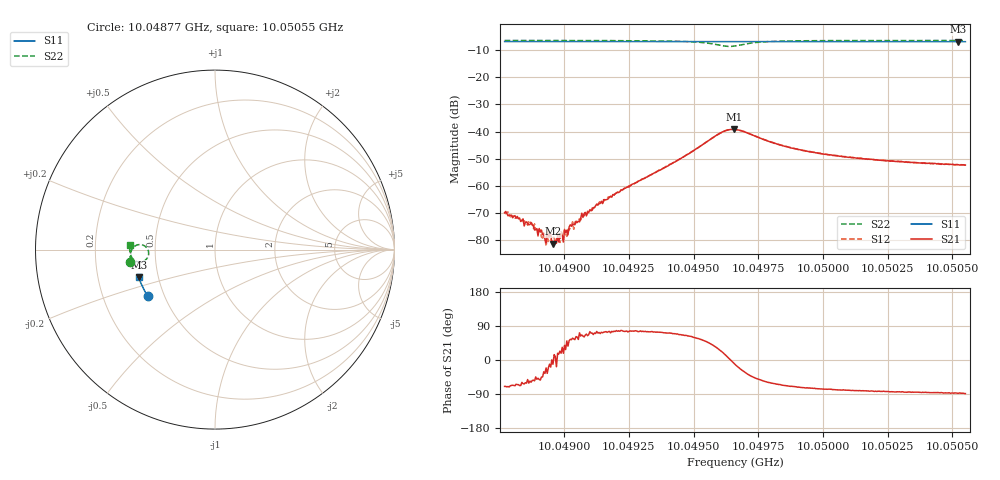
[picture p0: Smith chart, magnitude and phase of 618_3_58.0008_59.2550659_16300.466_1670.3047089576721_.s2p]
#  HZ  S  RI  R  50.00
! Rohde & Schwarz Vector Network Analyzer
! Rohde-Schwarz,ZNB20-2Port,1311601062101988,3.16
! Created: UTC 3/21/2024, 1:18:02 AM
! freq[Hz]  re:S11  im:S11  re:S21  im:S21  re:S12  im:S12  re:S22  im:S22
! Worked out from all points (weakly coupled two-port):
!   401 points, 10.04877 GHz to 10.05055 GHz, reference 50 ohm
!   highest |S21| = -39.15 dB at 10.04966 GHz (marker M1); lowest = -81.2 dB at 10.04896 GHz (marker M2)
!   lowest |S11| = -6.9 dB at 10.05052 GHz (marker M3), VSWR 2.65, Z = 19.4 - j7.54 ohm
!   |S11| at or under -10 dB: nowhere
!   |S22| runs from -8.6 to -6.4 dB; largest |S21 - S12| = 0.00081
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1.004877e10  -0.3752 -0.258  0.000112 -0.000303  0.000138 -0.0003  -0.4716 -0.0666
1.0048868e10  -0.3787 -0.2527  0.000111 -0.000163  0.000138 -0.000164  -0.4723 -0.0589
1.0048891e10  -0.3794 -0.2514  0.000112 -0.000111  9.32e-05 -0.000128  -0.4723 -0.057
1.0048913e10  -0.3802 -0.2501  0.000109 -0.000109  7.57e-05 -8.75e-05  -0.4725 -0.0554
1.0048922e10  -0.3806 -0.2495  0.000108 -6.53e-05  0.000108 -8.27e-05  -0.4726 -0.0547
1.0048944e10  -0.3814 -0.2482  0.000123 -2.4e-05  0.000124 -3.41e-05  -0.4726 -0.0529
1.0048957e10  -0.3818 -0.2476  8.53e-05 -1.7e-05  0.000112 -1.52e-05  -0.4727 -0.0516
1.0048988e10  -0.383 -0.2458  0.000117 3.78e-05  0.000121 8.6e-05  -0.4727 -0.0491
1.0048997e10  -0.3832 -0.2453  8.85e-05 2.85e-05  7.91e-05 6.28e-05  -0.4727 -0.0484
1.0049002e10  -0.3834 -0.2452  0.000119 9.54e-05  0.000134 8.59e-05  -0.4728 -0.0479
1.0049024e10  -0.3842 -0.2437  0.000113 0.000158  0.000104 0.000136  -0.473 -0.0459
1.0049069e10  -0.3856 -0.2412  0.000128 0.000289  9.06e-05 0.000248  -0.4728 -0.0421
1.0049171e10  -0.389 -0.2353  0.000154 0.000564  0.000164 0.000609  -0.4724 -0.032
1.0049367e10  -0.3952 -0.2239  0.000553 0.00185  0.000465 0.00191  -0.4673 -0.0078
1.0049602e10  -0.4016 -0.2097  0.00846 0.00407  0.0081 0.00462  -0.3885 0.018
1.0049656e10  -0.4025 -0.2072  0.0109 -0.00166  0.011 -0.000868  -0.3723 -0.0365
1.004966e10  -0.4027 -0.2069  0.0107 -0.00216  0.0109 -0.00144  -0.3742 -0.0414
1.0049838e10  -0.4083 -0.1969  0.00231 -0.00513  0.00264 -0.00506  -0.4607 -0.0476
1.0049958e10  -0.4117 -0.1897  0.00113 -0.00406  0.00137 -0.004  -0.4706 -0.0273
1.0050256e10  -0.4193 -0.1714  0.000314 -0.00288  0.00047 -0.00285  -0.4752 0.00476
1.0050523e10  -0.425 -0.1549  8.49e-05 -0.00247  0.000228 -0.00246  -0.4751 0.0264
1.005055e10  -0.4256 -0.1533  5.93e-05 -0.00243  0.000226 -0.00242  -0.475 0.0283
